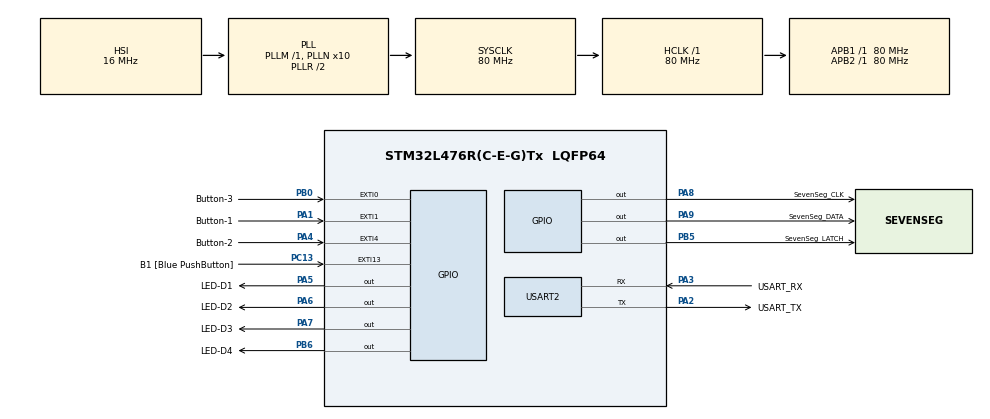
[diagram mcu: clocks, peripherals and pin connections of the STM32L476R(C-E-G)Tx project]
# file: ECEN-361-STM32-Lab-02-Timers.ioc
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Mcu.Family=STM32L4
Mcu.Name=STM32L476R(C-E-G)Tx
Mcu.Package=LQFP64
Mcu.UserConstants=reaction_timer,1
NVIC.EXTI0_IRQn=true\:0\:0\:false\:false\:true\:true\:true\:true
NVIC.EXTI1_IRQn=true\:0\:0\:false\:false\:true\:true\:true\:true
NVIC.EXTI4_IRQn=true\:0\:0\:false\:false\:true\:true\:true\:true
NVIC.PriorityGroup=NVIC_PRIORITYGROUP_4
NVIC.TIM1_TRG_COM_TIM17_IRQn=true\:0\:0\:false\:false\:true\:true\:true\:true
NVIC.TIM1_UP_TIM16_IRQn=true\:0\:0\:false\:false\:true\:true\:true\:true
NVIC.TIM3_IRQn=true\:0\:0\:false\:false\:true\:true\:true\:true
NVIC.TIM6_DAC_IRQn=true\:0\:0\:false\:false\:true\:true\:true\:true
PA0.Signal=ADCx_IN5
PA1.GPIO_Label=Button-1
PA1.GPIO_ModeDefaultEXTI=GPIO_MODE_IT_FALLING
PA1.Signal=GPXTI1
PA13\ (JTMS-SWDIO).GPIO_Label=TMS
PA13\ (JTMS-SWDIO).Mode=Serial_Wire
PA13\ (JTMS-SWDIO).Signal=SYS_JTMS-SWDIO
PA14\ (JTCK-SWCLK).GPIO_Label=TCK
PA14\ (JTCK-SWCLK).Mode=Serial_Wire
PA14\ (JTCK-SWCLK).Signal=SYS_JTCK-SWCLK
PA2.GPIO_Label=USART_TX
PA2.GPIO_Mode=GPIO_MODE_AF_PP
PA2.GPIO_PuPd=GPIO_NOPULL
PA2.GPIO_Speed=GPIO_SPEED_FREQ_VERY_HIGH
PA2.Mode=Asynchronous
PA2.Signal=USART2_TX
PA3.GPIO_Label=USART_RX
PA3.GPIO_Mode=GPIO_MODE_AF_PP
PA3.GPIO_PuPd=GPIO_NOPULL
PA3.GPIO_Speed=GPIO_SPEED_FREQ_VERY_HIGH
PA3.Mode=Asynchronous
PA3.Signal=USART2_RX
PA4.GPIO_Label=Button-2
PA4.GPIO_ModeDefaultEXTI=GPIO_MODE_IT_FALLING
PA4.Signal=GPXTI4
PA5.GPIO_Label=LED-D1
PA5.Signal=GPIO_Output
PA6.GPIO_Label=LED-D2
PA6.Signal=GPIO_Output
PA7.GPIO_Label=LED-D3
PA7.Signal=GPIO_Output
PA8.GPIO_Label=SevenSeg_CLK
PA8.Signal=GPIO_Output
PA9.GPIO_Label=SevenSeg_DATA
PA9.Signal=GPIO_Output
PB0.GPIO_Label=Button-3
PB0.GPIO_ModeDefaultEXTI=GPIO_MODE_IT_FALLING
PB0.Signal=GPXTI0
PB3\ (JTDO-TRACESWO).Signal=SYS_JTDO-SWO
PB5.GPIO_Label=SevenSeg_LATCH
PB5.Signal=GPIO_Output
PB6.GPIO_Label=LED-D4
PB6.Signal=GPIO_Output
PC1.GPIO_Label=LM35_IN
PC1.Signal=ADCx_IN2
PC13.GPIO_Label=B1 [Blue PushButton]
PC13.GPIO_ModeDefaultEXTI=GPIO_MODE_IT_FALLING
PC13.GPIO_PuPd=GPIO_NOPULL
PC13.Signal=GPXTI13
PC14-OSC32_IN\ (PC14).Mode=LSE-External-Oscillator
PC14-OSC32_IN\ (PC14).Signal=RCC_OSC32_IN
PC15-OSC32_OUT\ (PC15).Mode=LSE-External-Oscillator
PC15-OSC32_OUT\ (PC15).Signal=RCC_OSC32_OUT
PH0-OSC_IN\ (PH0).Signal=RCC_OSC_IN
PH1-OSC_OUT\ (PH1).Signal=RCC_OSC_OUT
ProjectManager.HeapSize=0x200
ProjectManager.StackSize=0x400
ProjectManager.TargetToolchain=STM32CubeIDE
RCC.ADCFreq_Value=64000000
RCC.AHBFreq_Value=80000000
RCC.APB1Freq_Value=80000000
RCC.APB1TimFreq_Value=80000000
RCC.APB2Freq_Value=80000000
RCC.APB2TimFreq_Value=80000000
RCC.CortexFreq_Value=80000000
RCC.HCLKFreq_Value=80000000
RCC.HSE_VALUE=8000000
RCC.HSI_VALUE=16000000
RCC.MSI_VALUE=4000000
RCC.PLLN=10
RCC.PLLSourceVirtual=RCC_PLLSOURCE_HSI
RCC.PREFETCH_ENABLE=1
RCC.SYSCLKFreq_VALUE=80000000
RCC.SYSCLKSource=RCC_SYSCLKSOURCE_PLLCLK
RCC.USBFreq_Value=64000000
RCC.VCOOutputFreq_Value=160000000
SH.ADCx_IN2.0=ADC1_IN2
SH.ADCx_IN5.0=ADC2_IN5
TIM16.Channel=TIM_CHANNEL_1
TIM16.Period=10000
TIM16.Prescaler=(8000 -1) 
TIM17.Period=100
TIM17.Prescaler=(800-1)
TIM3.AutoReloadPreload=TIM_AUTORELOAD_PRELOAD_DISABLE
TIM3.Period=65535
TIM3.Prescaler=(80-1)
TIM6.Period=5000 - 1
TIM6.Prescaler=(8000 - 1) 
USART2.VirtualMode-Asynchronous=VM_ASYNC
VP_TIM16_VS_ClockSourceINT.Mode=Enable_Timer
VP_TIM17_VS_ClockSourceINT.Mode=Enable_Timer
VP_TIM3_VS_ClockSourceINT.Mode=Internal
VP_TIM6_VS_ClockSourceINT.Mode=Enable_Timer
board=NUCLEO-L476RG

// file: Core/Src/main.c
/* USER CODE BEGIN Header */
/**
  ******************************************************************************
  * @file           : main.c
  * @brief          : Main program body
  ******************************************************************************
  * @attention
  *
  * Copyright (c) 2023 STMicroelectronics.
  * All rights reserved.
  *
  * This software is licensed under terms that can be found in the LICENSE file
  * in the root directory of this software component.
  * If no LICENSE file comes with this software, it is provided AS-IS.
  *
  ******************************************************************************
  */
/* USER CODE END Header */
#include "main.h"

/* USER CODE BEGIN Includes */
#include "MultiFunctionShield.h"
#include <stdio.h>
#include <stdlib.h>
#include <stdbool.h>

/* USER CODE END Includes */

TIM_HandleTypeDef htim3;
TIM_HandleTypeDef htim6;
TIM_HandleTypeDef htim16;
TIM_HandleTypeDef htim17;

UART_HandleTypeDef huart2;

/* USER CODE BEGIN PV */
bool got_start_button = false;
bool got_stop_button = false;
bool got_fastest_button = false;
bool timer_running = false;
bool waiting_for_signal = false;

int best_reaction_time_in_millisec = 99999;

/* USER CODE END PV */

void SystemClock_Config(void);
static void MX_GPIO_Init(void);
static void MX_USART2_UART_Init(void);
static void MX_TIM17_Init(void);
static void MX_TIM16_Init(void);
static void MX_TIM3_Init(void);
static void MX_TIM6_Init(void);
/* USER CODE BEGIN PFP */
/* Private function prototypes -----------------------------------------------*/
#define PUTCHAR_PROTOTYPE int __io_putchar(int ch)

void HAL_GPIO_EXTI_Callback(uint16_t GPIO_Pin);
void show_a_random_number(void);
void got_start(void);
void got_stop(void);
void got_fastest(void);

/* USER CODE END PFP */

int main(void)
{

  /* MCU Configuration--------------------------------------------------------*/

  /* Reset of all peripherals, Initializes the Flash interface and the Systick. */
  HAL_Init();

  /* Configure the system clock */
  SystemClock_Config();

  /* Initialize all configured peripherals */
  MX_GPIO_Init();
  MX_USART2_UART_Init();
  MX_TIM17_Init();
  MX_TIM16_Init();
  MX_TIM3_Init();
  MX_TIM6_Init();
  /* USER CODE BEGIN 2 */

  // Start timer
  HAL_TIM_Base_Start_IT(&htim17);  // LED SevenSeg cycle thru them   DONT CHANGE
  HAL_TIM_Base_Start_IT(&htim16);  // LED-D1 toggle according to Timer16   DONT CHANGE

  /************  STUDENT TO FILL IN HERE START *********************/

    // Add your Timer Start for LED-D2 HERE
    // Add your Timer Start for LED-D3 HERE
  HAL_TIM_Base_Start_IT(&htim6);  // Start Timer for LED-D2
  HAL_TIM_Base_Start_IT(&htim3);  // Start Timer for LED-D3
  if (got_start_button) {
      HAL_TIM_Base_Start(&htim3);  // Start the timer
      got_start_button = false;
  }
  if (got_stop_button) {
      HAL_TIM_Base_Stop(&htim3);  // Stop the timer
      uint32_t elapsed_time = __HAL_TIM_GET_COUNTER(&htim3);
      uint32_t elapsed_time_ms = elapsed_time / 1000;
      MultiFunctionShield_Display(elapsed_time_ms);
      got_stop_button = false;
  }
  HAL_Init();
  SystemClock_Config();
  MX_GPIO_Init();
  MX_USART2_UART_Init();
  MX_TIM17_Init();
  MX_TIM16_Init();
  MX_TIM3_Init();
  MX_TIM6_Init();

  /* Start Necessary Timers */
  HAL_TIM_Base_Start_IT(&htim17); // 7-segment display timer
  MultiFunctionShield_Clear();    // Clear the display

  /************  STUDENT TO FILL IN HERE END   *********************/

  MultiFunctionShield_Clear();
  /* USER CODE END 2 */

  /* Infinite loop */
  /* USER CODE BEGIN WHILE */
  Clear_LEDs();
  printf("\033\143");  // clear the terminal before printing
  printf("Hello Lab-2 -- Timers and Interrupts \n\r\n\r");
  srand((unsigned) uwTick );

  while (1)
  {
    /* USER CODE END WHILE */

    /* USER CODE BEGIN 3 */
	  if (got_start_button && !timer_running)
	      {
	          got_start_button = false; // Reset flag
	          waiting_for_signal = false;
	          timer_running = true;

	          // Show waiting signal
	          MultiFunctionShield_Display(8888); // "Wait"
	          HAL_GPIO_WritePin(LED_D1_GPIO_Port, LED_D1_Pin, GPIO_PIN_RESET);

	          // Random delay (1-7 seconds)
	          int random_delay_ms = (rand() % 7000) + 1000;
	          HAL_Delay(random_delay_ms);

	          // "Go" signal
	          MultiFunctionShield_Clear();
	          HAL_GPIO_WritePin(LED_D1_GPIO_Port, LED_D1_Pin, GPIO_PIN_SET);
	          waiting_for_signal = true;

	          // Start timer
	          __HAL_TIM_SET_COUNTER(&htim3, 0); // Reset counter
	          HAL_TIM_Base_Start(&htim3);
	      }

	      if (got_stop_button)
	      {
	          got_stop_button = false;

	          if (!timer_running)
	          {
	              // Error: Stop button pressed prematurely
	              MultiFunctionShield_Display(9999); // Error code
	          }
	          else
	          {
	              HAL_TIM_Base_Stop(&htim3); // Stop timer
	              uint32_t elapsed_time = __HAL_TIM_GET_COUNTER(&htim3); // Get counter value
	              uint32_t elapsed_time_ms = elapsed_time / 1000; // Convert to milliseconds

	              if (waiting_for_signal)
	              {
	                  // Update fastest time if applicable
	                  if (elapsed_time_ms < best_reaction_time_in_millisec)
	                  {
	                      best_reaction_time_in_millisec = elapsed_time_ms;
	                  }

	                  // Display reaction time
	                  MultiFunctionShield_Display(elapsed_time_ms);

	                  // Reset flags
	                  waiting_for_signal = false;
	                  timer_running = false;

	                  // Turn off "Go" LED
	                  HAL_GPIO_WritePin(LED_D1_GPIO_Port, LED_D1_Pin, GPIO_PIN_RESET);
	              }
	              else
	              {
	                  // Stop button pressed before "Go" signal
	                  MultiFunctionShield_Display(9999); // Error code
	              }
	          }
	      }

	      if (got_fastest_button)
	      {
	          got_fastest_button = false;
	          MultiFunctionShield_Display(best_reaction_time_in_millisec); // Show best time
	      }
  }
  /* USER CODE END 3 */
}

void SystemClock_Config(void)
{
  RCC_OscInitTypeDef RCC_OscInitStruct = {0};
  RCC_ClkInitTypeDef RCC_ClkInitStruct = {0};

  /** Configure the main internal regulator output voltage
  */
  if (HAL_PWREx_ControlVoltageScaling(PWR_REGULATOR_VOLTAGE_SCALE1) != HAL_OK)
  {
    Error_Handler();
  }

  /** Initializes the RCC Oscillators according to the specified parameters
  * in the RCC_OscInitTypeDef structure.
  */
  RCC_OscInitStruct.OscillatorType = RCC_OSCILLATORTYPE_HSI;
  RCC_OscInitStruct.HSIState = RCC_HSI_ON;
  RCC_OscInitStruct.HSICalibrationValue = RCC_HSICALIBRATION_DEFAULT;
  RCC_OscInitStruct.PLL.PLLState = RCC_PLL_ON;
  RCC_OscInitStruct.PLL.PLLSource = RCC_PLLSOURCE_HSI;
  RCC_OscInitStruct.PLL.PLLM = 1;
  RCC_OscInitStruct.PLL.PLLN = 10;
  RCC_OscInitStruct.PLL.PLLP = RCC_PLLP_DIV7;
  RCC_OscInitStruct.PLL.PLLQ = RCC_PLLQ_DIV2;
  RCC_OscInitStruct.PLL.PLLR = RCC_PLLR_DIV2;
  if (HAL_RCC_OscConfig(&RCC_OscInitStruct) != HAL_OK)
  {
    Error_Handler();
  }

  /** Initializes the CPU, AHB and APB buses clocks
  */
  RCC_ClkInitStruct.ClockType = RCC_CLOCKTYPE_HCLK|RCC_CLOCKTYPE_SYSCLK
                              |RCC_CLOCKTYPE_PCLK1|RCC_CLOCKTYPE_PCLK2;
  RCC_ClkInitStruct.SYSCLKSource = RCC_SYSCLKSOURCE_PLLCLK;
  RCC_ClkInitStruct.AHBCLKDivider = RCC_SYSCLK_DIV1;
  RCC_ClkInitStruct.APB1CLKDivider = RCC_HCLK_DIV1;
  RCC_ClkInitStruct.APB2CLKDivider = RCC_HCLK_DIV1;

  if (HAL_RCC_ClockConfig(&RCC_ClkInitStruct, FLASH_LATENCY_4) != HAL_OK)
  {
    Error_Handler();
  }
}

static void MX_TIM3_Init(void)
{

  TIM_ClockConfigTypeDef sClockSourceConfig = {0};
  TIM_MasterConfigTypeDef sMasterConfig = {0};

  htim3.Instance = TIM3;
  htim3.Init.Prescaler = (80-1);
  htim3.Init.CounterMode = TIM_COUNTERMODE_UP;
  htim3.Init.Period = 65535;
  htim3.Init.ClockDivision = TIM_CLOCKDIVISION_DIV1;
  htim3.Init.AutoReloadPreload = TIM_AUTORELOAD_PRELOAD_DISABLE;
  if (HAL_TIM_Base_Init(&htim3) != HAL_OK)
  {
    Error_Handler();
  }
  sClockSourceConfig.ClockSource = TIM_CLOCKSOURCE_INTERNAL;
  if (HAL_TIM_ConfigClockSource(&htim3, &sClockSourceConfig) != HAL_OK)
  {
    Error_Handler();
  }
  sMasterConfig.MasterOutputTrigger = TIM_TRGO_RESET;
  sMasterConfig.MasterSlaveMode = TIM_MASTERSLAVEMODE_DISABLE;
  if (HAL_TIMEx_MasterConfigSynchronization(&htim3, &sMasterConfig) != HAL_OK)
  {
    Error_Handler();
  }

}

static void MX_TIM6_Init(void)
{

  TIM_MasterConfigTypeDef sMasterConfig = {0};

  htim6.Instance = TIM6;
  htim6.Init.Prescaler = (8000 - 1) ;
  htim6.Init.CounterMode = TIM_COUNTERMODE_UP;
  htim6.Init.Period = 5000 - 1;
  htim6.Init.AutoReloadPreload = TIM_AUTORELOAD_PRELOAD_DISABLE;
  if (HAL_TIM_Base_Init(&htim6) != HAL_OK)
  {
    Error_Handler();
  }
  sMasterConfig.MasterOutputTrigger = TIM_TRGO_RESET;
  sMasterConfig.MasterSlaveMode = TIM_MASTERSLAVEMODE_DISABLE;
  if (HAL_TIMEx_MasterConfigSynchronization(&htim6, &sMasterConfig) != HAL_OK)
  {
    Error_Handler();
  }

}

static void MX_TIM16_Init(void)
{

  htim16.Instance = TIM16;
  htim16.Init.Prescaler = (8000 -1) ;
  htim16.Init.CounterMode = TIM_COUNTERMODE_UP;
  htim16.Init.Period = 10000;
  htim16.Init.ClockDivision = TIM_CLOCKDIVISION_DIV1;
  htim16.Init.RepetitionCounter = 0;
  htim16.Init.AutoReloadPreload = TIM_AUTORELOAD_PRELOAD_DISABLE;
  if (HAL_TIM_Base_Init(&htim16) != HAL_OK)
  {
    Error_Handler();
  }

}

static void MX_TIM17_Init(void)
{

  htim17.Instance = TIM17;
  htim17.Init.Prescaler = (800-1);
  htim17.Init.CounterMode = TIM_COUNTERMODE_UP;
  htim17.Init.Period = 100;
  htim17.Init.ClockDivision = TIM_CLOCKDIVISION_DIV1;
  htim17.Init.RepetitionCounter = 0;
  htim17.Init.AutoReloadPreload = TIM_AUTORELOAD_PRELOAD_DISABLE;
  if (HAL_TIM_Base_Init(&htim17) != HAL_OK)
  {
    Error_Handler();
  }

}

static void MX_USART2_UART_Init(void)
{

  huart2.Instance = USART2;
  huart2.Init.BaudRate = 115200;
  huart2.Init.WordLength = UART_WORDLENGTH_8B;
  huart2.Init.StopBits = UART_STOPBITS_1;
  huart2.Init.Parity = UART_PARITY_NONE;
  huart2.Init.Mode = UART_MODE_TX_RX;
  huart2.Init.HwFlowCtl = UART_HWCONTROL_NONE;
  huart2.Init.OverSampling = UART_OVERSAMPLING_16;
  huart2.Init.OneBitSampling = UART_ONE_BIT_SAMPLE_DISABLE;
  huart2.AdvancedInit.AdvFeatureInit = UART_ADVFEATURE_NO_INIT;
  if (HAL_UART_Init(&huart2) != HAL_OK)
  {
    Error_Handler();
  }

}

static void MX_GPIO_Init(void)
{
  GPIO_InitTypeDef GPIO_InitStruct = {0};

  /* GPIO Ports Clock Enable */
  __HAL_RCC_GPIOC_CLK_ENABLE();
  __HAL_RCC_GPIOH_CLK_ENABLE();
  __HAL_RCC_GPIOA_CLK_ENABLE();
  __HAL_RCC_GPIOB_CLK_ENABLE();

  /*Configure GPIO pin Output Level */
  HAL_GPIO_WritePin(GPIOA, LED_D1_Pin|LED_D2_Pin|LED_D3_Pin|SevenSeg_CLK_Pin
                          |SevenSeg_DATA_Pin, GPIO_PIN_RESET);

  /*Configure GPIO pin Output Level */
  HAL_GPIO_WritePin(GPIOB, SevenSeg_LATCH_Pin|LED_D4_Pin, GPIO_PIN_RESET);

  /*Configure GPIO pin : B1_Pin */
  GPIO_InitStruct.Pin = B1_Pin;
  GPIO_InitStruct.Mode = GPIO_MODE_IT_FALLING;
  GPIO_InitStruct.Pull = GPIO_NOPULL;
  HAL_GPIO_Init(B1_GPIO_Port, &GPIO_InitStruct);

  /*Configure GPIO pin : LM35_IN_Pin */
  GPIO_InitStruct.Pin = LM35_IN_Pin;
  GPIO_InitStruct.Mode = GPIO_MODE_ANALOG_ADC_CONTROL;
  GPIO_InitStruct.Pull = GPIO_NOPULL;
  HAL_GPIO_Init(LM35_IN_GPIO_Port, &GPIO_InitStruct);

  /*Configure GPIO pin : PA0 */
  GPIO_InitStruct.Pin = GPIO_PIN_0;
  GPIO_InitStruct.Mode = GPIO_MODE_ANALOG_ADC_CONTROL;
  GPIO_InitStruct.Pull = GPIO_NOPULL;
  HAL_GPIO_Init(GPIOA, &GPIO_InitStruct);

  /*Configure GPIO pins : Button_1_Pin Button_2_Pin */
  GPIO_InitStruct.Pin = Button_1_Pin|Button_2_Pin;
  GPIO_InitStruct.Mode = GPIO_MODE_IT_FALLING;
  GPIO_InitStruct.Pull = GPIO_NOPULL;
  HAL_GPIO_Init(GPIOA, &GPIO_InitStruct);

  /*Configure GPIO pins : LED_D1_Pin LED_D2_Pin LED_D3_Pin SevenSeg_CLK_Pin
                           SevenSeg_DATA_Pin */
  GPIO_InitStruct.Pin = LED_D1_Pin|LED_D2_Pin|LED_D3_Pin|SevenSeg_CLK_Pin
                          |SevenSeg_DATA_Pin;
  GPIO_InitStruct.Mode = GPIO_MODE_OUTPUT_PP;
  GPIO_InitStruct.Pull = GPIO_NOPULL;
  GPIO_InitStruct.Speed = GPIO_SPEED_FREQ_LOW;
  HAL_GPIO_Init(GPIOA, &GPIO_InitStruct);

  /*Configure GPIO pin : Button_3_Pin */
  GPIO_InitStruct.Pin = Button_3_Pin;
  GPIO_InitStruct.Mode = GPIO_MODE_IT_FALLING;
  GPIO_InitStruct.Pull = GPIO_NOPULL;
  HAL_GPIO_Init(Button_3_GPIO_Port, &GPIO_InitStruct);

  /*Configure GPIO pins : SevenSeg_LATCH_Pin LED_D4_Pin */
  GPIO_InitStruct.Pin = SevenSeg_LATCH_Pin|LED_D4_Pin;
  GPIO_InitStruct.Mode = GPIO_MODE_OUTPUT_PP;
  GPIO_InitStruct.Pull = GPIO_NOPULL;
  GPIO_InitStruct.Speed = GPIO_SPEED_FREQ_LOW;
  HAL_GPIO_Init(GPIOB, &GPIO_InitStruct);

  /* EXTI interrupt init*/
  HAL_NVIC_SetPriority(EXTI0_IRQn, 0, 0);
  HAL_NVIC_EnableIRQ(EXTI0_IRQn);

  HAL_NVIC_SetPriority(EXTI1_IRQn, 0, 0);
  HAL_NVIC_EnableIRQ(EXTI1_IRQn);

  HAL_NVIC_SetPriority(EXTI4_IRQn, 0, 0);
  HAL_NVIC_EnableIRQ(EXTI4_IRQn);

}

/* USER CODE BEGIN 4 */

/**
  * @brief  Retargets the C library printf function to the USART.
  * @param  None
  * @retval None
  */
PUTCHAR_PROTOTYPE
{
  /* Place your implementation of fputc here */
  /* e.g. write a character to the USART1 and Loop until the end of transmission */
  HAL_UART_Transmit(&huart2, (uint8_t *)&ch, 1, 0xFFFF);

  return ch;
}

void HAL_GPIO_EXTI_Callback(uint16_t GPIO_Pin)
	{
	// All three buttons generate GPIO interrupts
	// Don't spend much time in the ISR because there are other interrupts happening
	switch(GPIO_Pin)
	{
	case Button_1_Pin:
		got_start_button = true;
		break;
	case Button_2_Pin:
		got_stop_button = true;
		break;
	case Button_3_Pin:
		// Here's the code for the Show Fastest button --
		got_fastest_button = true;
		MultiFunctionShield_Display(best_reaction_time_in_millisec);
		break;
	default:
      __NOP();
	}
}

// Callback: timer has rolled over
void HAL_TIM_PeriodElapsedCallback(TIM_HandleTypeDef *htim)
{
// Check which version of the timer triggered this callback and toggle the right LED
  if (htim == &htim16 )
  {
	HAL_GPIO_TogglePin(LED_D1_GPIO_Port, LED_D1_Pin);
  }
/** This timer has to be here to cycle thru the 7-Seg LED displays **/
  if (htim == &htim17 )
  {
	  MultiFunctionShield__ISRFunc();
  }
  if (htim == &htim6)
  {
      HAL_GPIO_TogglePin(LED_D2_GPIO_Port, LED_D2_Pin);
  }
  if (htim == &htim3)
  {
      HAL_GPIO_TogglePin(LED_D3_GPIO_Port, LED_D3_Pin);
  }

  /**************** STUDENT TO FILL IN START HERE ********************/
  /*   See example above where the htim
   *   Need to put in the code to toggle D2 and D3 when their respective timers have expired
   *
   */
  /**************** STUDENT TO FILL IN END HERE ********************/

}

/* USER CODE END 4 */

void Error_Handler(void)
{
  __disable_irq();
  while (1)
  {
  }
}
